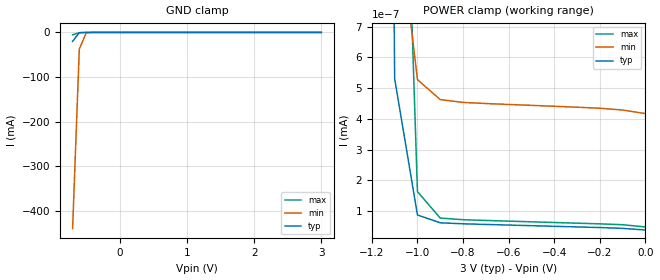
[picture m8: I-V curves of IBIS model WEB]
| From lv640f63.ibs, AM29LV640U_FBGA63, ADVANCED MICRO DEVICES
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|   Model WEB
[Model]   WEB
Model_type   Input
Polarity   Inverting
Vinl =   0.8000V
Vinh =   2.1000V
C_comp   8.0000pF   8.0000pF   8.0000pF
[Temperature Range]   27.0000   100.0000   0.000
[Pullup Reference]   3.0000V   2.7000V   3.6000V
[Pulldown Reference]   0.000V   0.000V   0.000V
[POWER Clamp Reference]   3.0000V   2.7000V   3.6000V
[GND Clamp Reference]   0.000V   0.000V   0.000V
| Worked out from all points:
|   GND clamp passes 1 mA (typ) near -0.60 V on its own axis
[GND_clamp]
| voltage   I(typ)   I(min)   I(max)
-700mV    -20.15mA   -440.4mA   -5.38mA
-600mV    -636.2uA   -37.41mA   -766.3uA
-500mV    -31.23uA   -1.816mA   -99.99uA
-300mV    -91.4nA    -4.072uA   -323nA
3V        38.4pA     438pA      35.03pA
[POWER_clamp]
| voltage   I(typ)   I(min)   I(max)
-3V       290.4uA    261.5uA    353.9uA
-1.2V     8.584nA    7.315nA    57.9nA
-1.1V     530.7pA    1.155nA    2.425nA
-1V       87.37pA    527.6pA    163.3pA
-900mV    61.95pA    462.7pA    77.34pA
-800mV    58.71pA    453.6pA    71.99pA
-200mV    46.53pA    434.7pA    58.52pA
-100mV    43.86pA    428.8pA    55.68pA
0V        38.4pA     417.2pA    48.37pA
